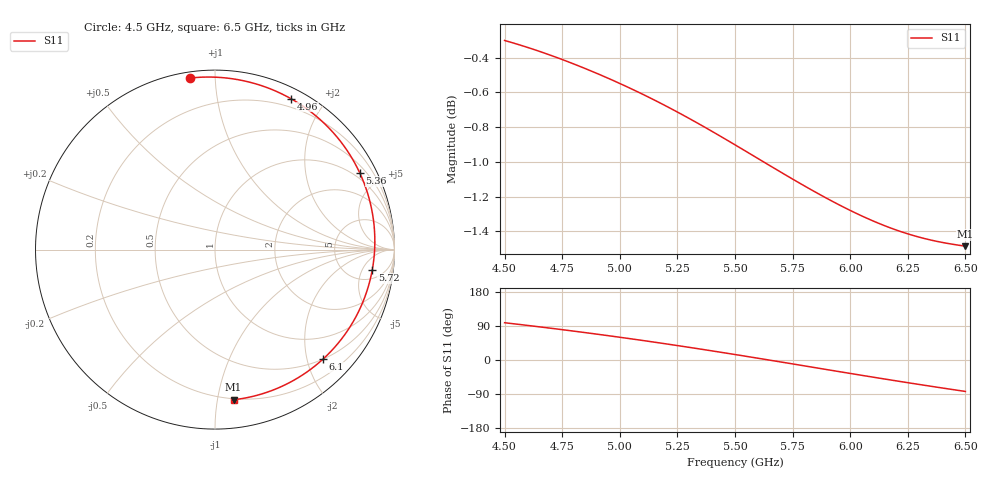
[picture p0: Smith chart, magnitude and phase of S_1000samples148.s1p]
! TOUCHSTONE file generated by CST MICROWAVE STUDIO
! Date and time: Thu Oct 27 04:03:07 2022
! Project name: L.cst
! Parameters = {Di=1.27; Epsilon_r=1.56; InnerDiameter=1.27; Length=2; Lf=10; Lg=60; OuterConductorThickness=0.2921; OuterDiameter=3.6; Wf=3; Wp=41.2; de=1.5; df=6.8; g=0.8; gx=4.80719; gy=4.43009; h=2.34; hf=1.524; px=10.894; py=11.3575; w=9.7; wx=6.08686; wy=6.92739}
! Header version: 2018
! Port assignment regex: !\s*Touchstone port\s*([0-9]+)\s*=\s*(CST MWS port|CST DS port)\s*([0-9]+|Zmin|Zmax)\s*\(\"(.*)\"\)(\s*mode\s*([0-9]+))?.*
! Touchstone port assignment:
! Touchstone port 1 = CST MWS port 1 ("")
# GHz S DB R 50
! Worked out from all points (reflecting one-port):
!   101 points, 4.5 GHz to 6.5 GHz, reference 50 ohm
!   lowest |S11| = -1.5 dB at 6.5 GHz (marker M1), VSWR 11.72, Z = 9.63 - j55.6 ohm
!   phase of S11 starts at 98 deg and turns -181 deg over the sweep
!   S11 on the Smith chart (normalised r, x): 4.5 GHz: 0.03, +0.86; 4.96 GHz: 0.11, +1.62; 5.36 GHz: 0.76, +3.89; 5.72 GHz: 8, -8; 6.1 GHz: 0.50, -2.30; 6.5 GHz: 0.19, -1.11
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4.5  -0.30 98.3
4.58  -0.33 92.7
4.64  -0.36 88.3
4.76  -0.42 79.3
4.86  -0.47 71.5
4.96  -0.53 63.3
5  -0.55 60.0
5.12  -0.62 49.7
5.18  -0.66 44.4
5.26  -0.72 37.2
5.36  -0.79 27.9
5.44  -0.86 20.3
5.5  -0.90 14.5
5.56  -0.95 8.6
5.62  -1.00 2.6
5.72  -1.08 -7.3
5.76  -1.11 -11.3
5.82  -1.15 -17.4
5.88  -1.20 -23.4
5.94  -1.24 -29.4
6  -1.28 -35.4
6.1  -1.34 -45.3
6.18  -1.38 -53.1
6.26  -1.42 -60.8
6.32  -1.44 -66.5
6.38  -1.46 -72.1
6.44  -1.47 -77.6
6.5  -1.49 -83.0
